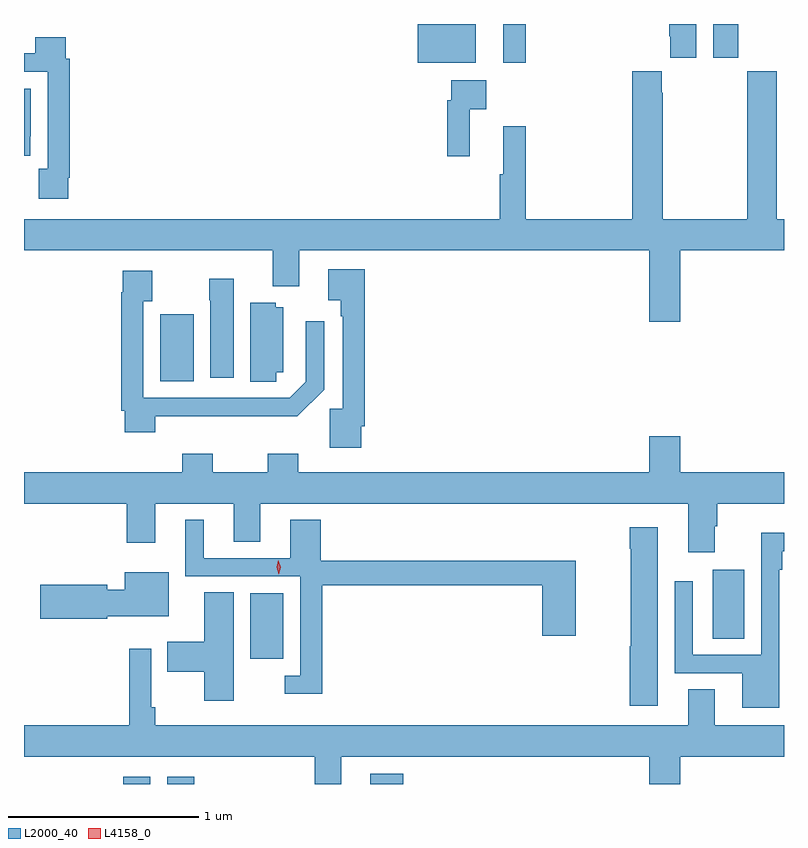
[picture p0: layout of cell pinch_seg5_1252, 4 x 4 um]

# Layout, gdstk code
import gdstk
lib = gdstk.Library(unit=1e-6, precision=1e-09)
def R(c, l, rs):  # rectangles x0, y0, x1, y1
    for r in rs: c.add(gdstk.rectangle(r[:2], r[2:], *l))
def P(c, l, *ps):  # polygons
    for p in ps: c.add(gdstk.Polygon(p, *l))
L2000_40 = (2000, 40)
L4158_0 = (4158, 0)

pinch_seg5_1252 = lib.new_cell('pinch_seg5_1252')
R(pinch_seg5_1252, L2000_40, [(461.939,855.284,462.081,855.322), (462.171,855.284,462.313,855.322), (463.239,855.284,463.413,855.337), (462.608,855.944,462.781,856.288), (465.041,856.048,465.208,856.411), (463.49,859.079,463.795,859.284), (463.94,859.08,464.057,859.284), (465.044,859.107,465.175,859.284)])
P(pinch_seg5_1252, L2000_40, [(464.956,859.284),(464.813,859.284),(464.813,859.219),(464.819,859.219),(464.819,859.107),(464.956,859.107)],
  [(461.65,858.475),(461.657,858.475),(461.657,859.1),(461.638,859.1),(461.638,859.213),(461.477,859.213),(461.477,859.13),(461.417,859.13),(461.417,859.032),(461.541,859.032),(461.541,858.523),(461.495,858.523),(461.495,858.363),(461.65,858.363)],
  [(464.872,858.092),(465.417,858.092),(465.417,858.256),(465.378,858.256),(465.378,859.036),(465.223,859.036),(465.223,858.256),(464.778,858.256),(464.778,858.923),(464.773,858.923),(464.773,859.036),(464.618,859.036),(464.618,858.256),(464.057,858.256),(464.057,858.745),(463.94,858.745),(463.94,858.492),(463.921,858.492),(463.921,858.256),(461.417,858.256),(461.417,858.092),(462.725,858.092),(462.725,857.903),(462.865,857.903),(462.865,858.092),(464.708,858.092),(464.708,857.718),(464.872,857.718)],
  [(463.763,858.836),(463.849,858.836),(463.849,858.988),(463.665,858.988),(463.665,858.884),(463.645,858.884),(463.645,858.588),(463.763,858.588)],
  [(461.451,858.694),(461.452,858.694),(461.452,858.943),(461.417,858.943),(461.417,858.591),(461.451,858.591)],
  [(463.192,857.167),(463.211,857.167),(463.211,857.992),(463.017,857.992),(463.017,857.831),(463.083,857.831),(463.083,857.747),(463.095,857.747),(463.095,857.259),(463.026,857.259),(463.026,857.055),(463.192,857.055)],
  [(462.109,857.219),(462.855,857.219),(462.996,857.36),(462.996,857.719),(462.9,857.719),(462.9,857.4),(462.816,857.316),(462.045,857.316),(462.045,857.826),(462.091,857.826),(462.091,857.986),(461.937,857.986),(461.937,857.873),(461.929,857.873),(461.929,857.248),(461.948,857.248),(461.948,857.136),(462.109,857.136)],
  [(462.52,857.944),(462.391,857.944),(462.391,857.831),(462.398,857.831),(462.398,857.421),(462.52,857.421)],
  [(462.744,857.451),(462.781,857.451),(462.781,857.794),(462.741,857.794),(462.741,857.818),(462.608,857.818),(462.608,857.401),(462.744,857.401)],
  [(462.31,857.757),(462.135,857.757),(462.135,857.654),(462.134,857.654),(462.134,857.405),(462.31,857.405)],
  [(465.052,856.64),(465.065,856.64),(465.065,856.76),(465.417,856.76),(465.417,856.924),(464.872,856.924),(464.872,857.113),(464.708,857.113),(464.708,856.924),(462.86,856.924),(462.86,857.023),(462.7,857.023),(462.7,856.924),(462.411,856.924),(462.411,857.023),(462.251,857.023),(462.251,856.924),(461.417,856.924),(461.417,856.76),(461.957,856.76),(461.957,856.554),(462.109,856.554),(462.109,856.76),(462.521,856.76),(462.521,856.558),(462.661,856.558),(462.661,856.76),(464.912,856.76),(464.912,856.503),(465.052,856.503)],
  [(462.986,856.33),(464.144,856.33),(464.144,856.065),(464.322,856.065),(464.322,856.459),(462.98,856.459),(462.98,856.675),(462.818,856.675),(462.818,856.473),(462.364,856.473),(462.364,856.675),(462.266,856.675),(462.266,856.377),(462.87,856.377),(462.87,855.855),(462.789,855.855),(462.789,855.758),(462.986,855.758)],
  [(464.752,856.636),(464.606,856.636),(464.606,856.523),(464.611,856.523),(464.611,856.008),(464.606,856.008),(464.606,855.696),(464.752,855.696)],
  [(465.393,856.412),(465.409,856.412),(465.409,856.508),(465.417,856.508),(465.417,856.606),(465.297,856.606),(465.297,855.963),(464.937,855.963),(464.937,856.351),(464.841,856.351),(464.841,855.867),(465.197,855.867),(465.197,855.686),(465.393,855.686)],
  [(461.854,856.166),(462.178,856.166),(462.178,856.399),(461.948,856.399),(461.948,856.306),(461.854,856.306),(461.854,856.332),(461.502,856.332),(461.502,856.154),(461.854,856.154)],
  [(462.52,856.292),(462.365,856.292),(462.365,856.033),(462.172,856.033),(462.172,855.875),(462.365,855.875),(462.365,855.723),(462.52,855.723)],
  [(463.087,855.428),(464.708,855.428),(464.708,855.284),(464.872,855.284),(464.872,855.428),(465.417,855.428),(465.417,855.592),(465.052,855.592),(465.052,855.782),(464.912,855.782),(464.912,855.592),(462.107,855.592),(462.107,855.688),(462.087,855.688),(462.087,855.997),(461.971,855.997),(461.971,855.592),(461.417,855.592),(461.417,855.428),(462.947,855.428),(462.947,855.284),(463.087,855.284)])
P(pinch_seg5_1252, L4158_0, [(462.759,856.389),(462.759,856.389),(462.747,856.425),(462.756,856.461),(462.756,856.461),(462.756,856.461),(462.767,856.426),(462.759,856.389)])

lib.write_gds('pinch_seg5_1252.gds')
